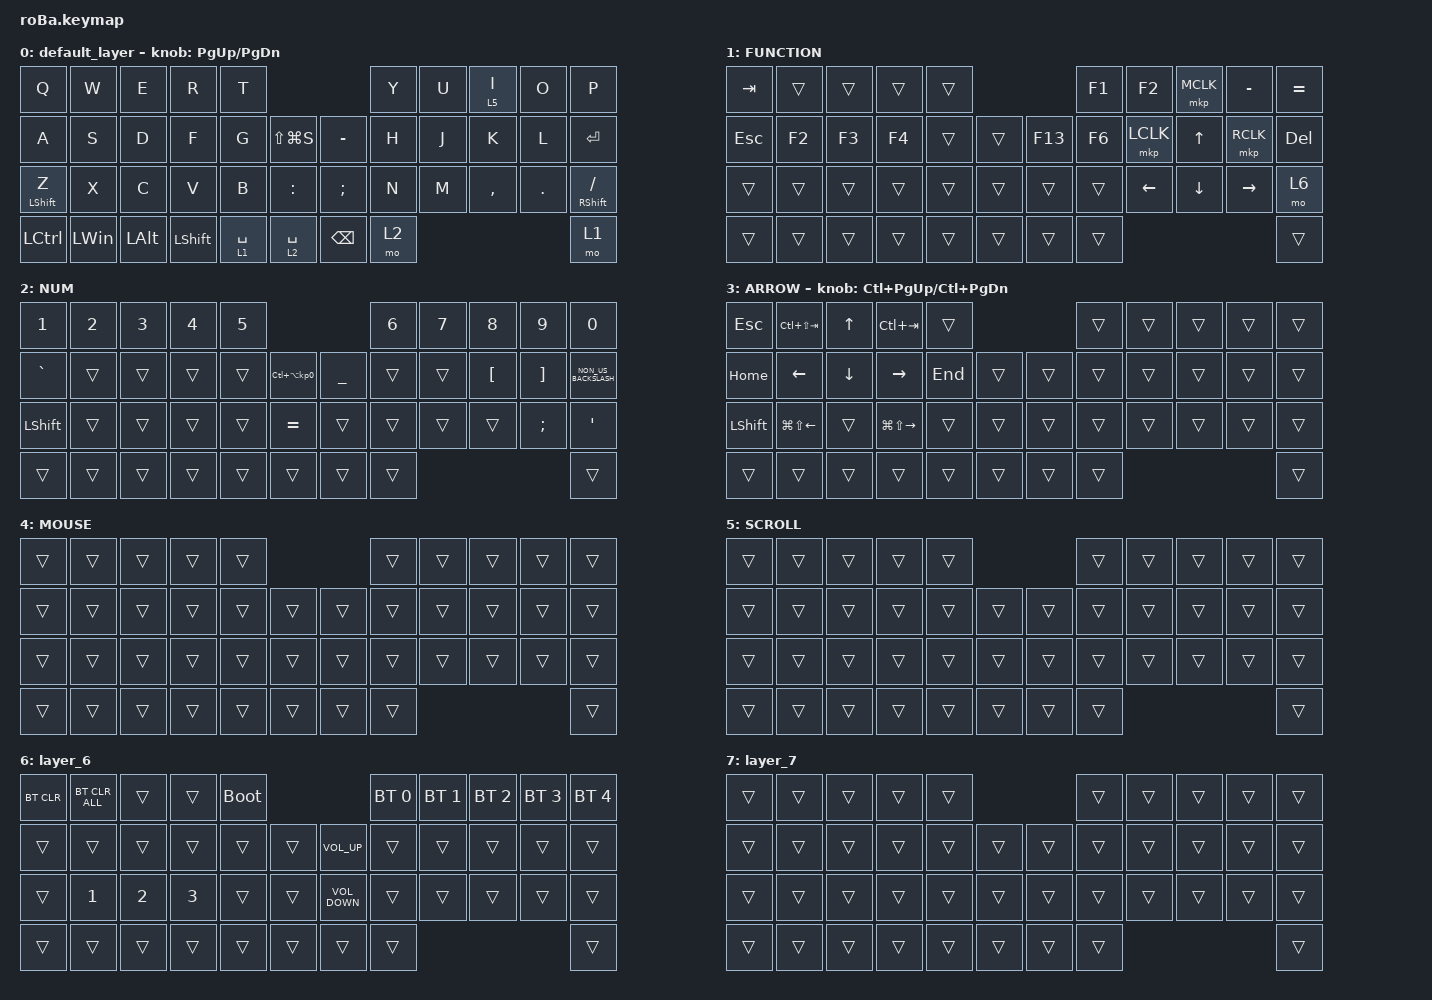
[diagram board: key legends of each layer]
#include <behaviors.dtsi>
#include <dt-bindings/zmk/bt.h>
#include <dt-bindings/zmk/keys.h>
#include <dt-bindings/zmk/pointing.h>

#define MOUSE 4
#define SCROLL 5
#define NUM 6

&mt {
    flavor = "balanced";
    quick-tap-ms = <0>;
};

/ {
    combos {
        compatible = "zmk,combos";

        tab {
            bindings = <&kp TAB>;
            key-positions = <11 12>;
        };

        shift_tab {
            bindings = <&kp LS(TAB)>;
            key-positions = <12 13>;
        };

        muhennkann {
            bindings = <&to_layer_0 INT_MUHENKAN>;
            key-positions = <11 10>;
        };

        double_quotation {
            bindings = <&kp DOUBLE_QUOTES>;
            key-positions = <20 21>;
        };

        eq {
            bindings = <&kp EQUAL>;
            key-positions = <24 25>;
        };
    };

    macros {
        to_layer_0: to_layer_0 {
            compatible = "zmk,behavior-macro-one-param";
            #binding-cells = <1>;
            bindings = <&to 0 &macro_param_1to1 &kp MACRO_PLACEHOLDER>;
            label = "TO_LAYER_0";
        };
    };

    behaviors {
        lt_to_layer_0: lt_to_layer_0 {
            compatible = "zmk,behavior-hold-tap";
            label = "LAYER_TAP_TO_0";
            bindings = <&mo>, <&to_layer_0>;

            #binding-cells = <2>;
            tapping-term-ms = <200>;
        };
    };

    keymap {
        compatible = "zmk,keymap";

        default_layer {
            bindings = <
&kp Q             &kp W         &kp E         &kp R           &kp T                                          &kp Y  &kp U  &lt 5 I    &kp O    &kp P
&kp A             &kp S         &kp D         &kp F           &kp G        &kp LS(LG(S))      &kp MINUS      &kp H  &kp J  &kp K      &kp L    &kp ENTER
&mt LEFT_SHIFT Z  &kp X         &kp C         &kp V           &kp B        &kp COLON          &kp SEMICOLON  &kp N  &kp M  &kp COMMA  &kp DOT  &mt RIGHT_SHIFT SLASH
&kp LCTRL         &kp LEFT_WIN  &kp LEFT_ALT  &kp LEFT_SHIFT  &lt 1 SPACE  &lt 2 SPACE        &kp BACKSPACE  &mo 2                             &mo 1
            >;

            sensor-bindings = <&inc_dec_kp PG_UP PAGE_DOWN>;
        };

        FUNCTION {
            bindings = <
&kp TAB     &trans  &trans  &trans  &trans                       &kp F1  &kp F2          &mkp MCLK       &kp MINUS  &kp EQUAL
&kp ESCAPE  &kp F2  &kp F3  &kp F4  &trans  &trans      &kp F13  &kp F6  &mkp LCLK       &kp UP_ARROW    &mkp RCLK  &kp DELETE
&trans      &trans  &trans  &trans  &trans  &trans      &trans   &trans  &kp LEFT_ARROW  &kp DOWN_ARROW  &kp RIGHT  &mo 6
&trans      &trans  &trans  &trans  &trans  &trans      &trans   &trans                                             &trans
            >;
        };

        NUM {
            bindings = <
&kp NUMBER_1    &kp NUMBER_2  &kp NUMBER_3  &kp NUMBER_4  &kp NUMBER_5                                               &kp NUMBER_6  &kp NUMBER_7  &kp NUMBER_8      &kp NUMBER_9       &kp NUMBER_0
&kp GRAVE       &trans        &trans        &trans        &trans        &kp LC(LA(KP_NUMBER_0))      &kp UNDERSCORE  &trans        &trans        &kp LEFT_BRACKET  &kp RIGHT_BRACKET  &kp NON_US_BACKSLASH
&kp LEFT_SHIFT  &trans        &trans        &trans        &trans        &kp EQUAL                    &trans          &trans        &trans        &trans            &kp SEMICOLON      &kp SQT
&trans          &trans        &trans        &trans        &trans        &trans                       &trans          &trans                                                           &trans
            >;
        };

        ARROW {
            bindings = <
&kp ESCAPE      &kp LC(LS(TAB))         &kp UP_ARROW    &kp LC(TAB)              &trans                       &trans  &trans  &trans  &trans  &trans
&kp HOME        &kp LEFT_ARROW          &kp DOWN_ARROW  &kp RIGHT_ARROW          &kp END  &trans      &trans  &trans  &trans  &trans  &trans  &trans
&kp LEFT_SHIFT  &kp LG(LS(LEFT_ARROW))  &trans          &kp LG(LS(RIGHT_ARROW))  &trans   &trans      &trans  &trans  &trans  &trans  &trans  &trans
&trans          &trans                  &trans          &trans                   &trans   &trans      &trans  &trans                          &trans
            >;

            sensor-bindings = <&inc_dec_kp LC(PAGE_UP) LC(PAGE_DOWN)>;
        };

        MOUSE {
            bindings = <
&trans  &trans  &trans  &trans  &trans                      &trans  &trans  &trans  &trans  &trans
&trans  &trans  &trans  &trans  &trans  &trans      &trans  &trans  &trans  &trans  &trans  &trans
&trans  &trans  &trans  &trans  &trans  &trans      &trans  &trans  &trans  &trans  &trans  &trans
&trans  &trans  &trans  &trans  &trans  &trans      &trans  &trans                          &trans
            >;
        };

        SCROLL {
            bindings = <
&trans  &trans  &trans  &trans  &trans                      &trans  &trans  &trans  &trans  &trans
&trans  &trans  &trans  &trans  &trans  &trans      &trans  &trans  &trans  &trans  &trans  &trans
&trans  &trans  &trans  &trans  &trans  &trans      &trans  &trans  &trans  &trans  &trans  &trans
&trans  &trans  &trans  &trans  &trans  &trans      &trans  &trans                          &trans
            >;
        };

        layer_6 {
            bindings = <
&bt BT_CLR  &bt BT_CLR_ALL  &trans        &trans        &bootloader                                 &bt BT_SEL 0  &bt BT_SEL 1  &bt BT_SEL 2  &bt BT_SEL 3  &bt BT_SEL 4
&trans      &trans          &trans        &trans        &trans       &trans      &kp C_VOLUME_UP    &trans        &trans        &trans        &trans        &trans
&trans      &kp NUMBER_1    &kp NUMBER_2  &kp NUMBER_3  &trans       &trans      &kp C_VOLUME_DOWN  &trans        &trans        &trans        &trans        &trans
&trans      &trans          &trans        &trans        &trans       &trans      &trans             &trans                                                  &trans
            >;
        };

        layer_7 {
            bindings = <
&trans  &trans  &trans  &trans  &trans                      &trans  &trans  &trans  &trans  &trans
&trans  &trans  &trans  &trans  &trans  &trans      &trans  &trans  &trans  &trans  &trans  &trans
&trans  &trans  &trans  &trans  &trans  &trans      &trans  &trans  &trans  &trans  &trans  &trans
&trans  &trans  &trans  &trans  &trans  &trans      &trans  &trans                          &trans
            >;
        };
    };
};
